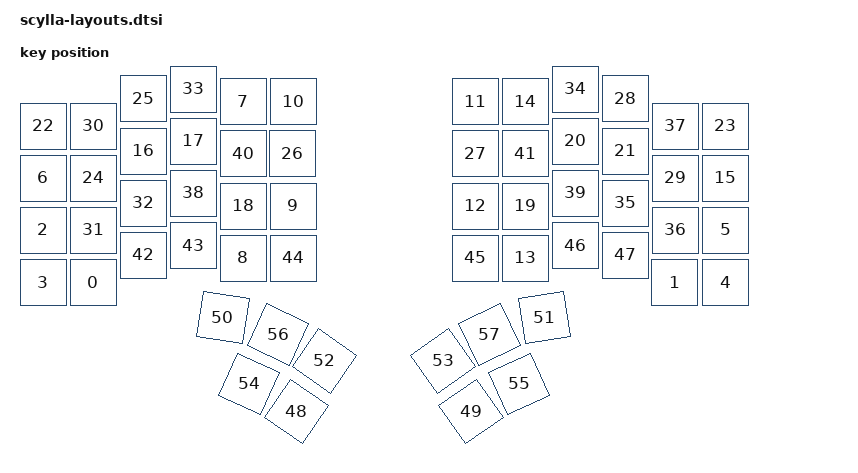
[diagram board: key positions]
#include <physical_layouts.dtsi>

/ {
    scylla_4x6_layout: scylla_4x6_layout {
        compatible = "zmk,physical-layout";
        display-name = "4x6 Layout";
        transform = <&scylla_4x6_transform>;
        kscan = <&kscan0>;

        keys  //                     w   h    x    y     rot    rx    ry
            = <&key_physical_attrs 100 100  100  387       0     0     0>
            , <&key_physical_attrs 100 100 1263  387       0     0     0>
            , <&key_physical_attrs 100 100    0  282       0     0     0>
            , <&key_physical_attrs 100 100    0  387       0     0     0>
            , <&key_physical_attrs 100 100 1365  387       0     0     0>
            , <&key_physical_attrs 100 100 1365  282       0     0     0>
            , <&key_physical_attrs 100 100    0  178       0     0     0>
            , <&key_physical_attrs 100 100  400   25       0     0     0>
            , <&key_physical_attrs 100 100  400  338       0     0     0>
            , <&key_physical_attrs 100 100  500  234       0     0     0>
            , <&key_physical_attrs 100 100  500   25       0     0     0>
            , <&key_physical_attrs 100 100  865   25       0     0     0>
            , <&key_physical_attrs 100 100  865  234       0     0     0>
            , <&key_physical_attrs 100 100  965  338       0     0     0>
            , <&key_physical_attrs 100 100  965   25       0     0     0>
            , <&key_physical_attrs 100 100 1365  178       0     0     0>
            , <&key_physical_attrs 100 100  200  124       0     0     0>
            , <&key_physical_attrs 100 100  300  104       0     0     0>
            , <&key_physical_attrs 100 100  400  234       0     0     0>
            , <&key_physical_attrs 100 100  965  234       0     0     0>
            , <&key_physical_attrs 100 100 1065  104       0     0     0>
            , <&key_physical_attrs 100 100 1165  124       0     0     0>
            , <&key_physical_attrs 100 100    0   74       0     0     0>
            , <&key_physical_attrs 100 100 1365   74       0     0     0>
            , <&key_physical_attrs 100 100  100  178       0     0     0>
            , <&key_physical_attrs 100 100  200   19       0     0     0>
            , <&key_physical_attrs 100 100  498  129       0     0     0>
            , <&key_physical_attrs 100 100  865  129       0     0     0>
            , <&key_physical_attrs 100 100 1165   19       0     0     0>
            , <&key_physical_attrs 100 100 1265  178       0     0     0>
            , <&key_physical_attrs 100 100  100   74       0     0     0>
            , <&key_physical_attrs 100 100  100  282       0     0     0>
            , <&key_physical_attrs 100 100  200  228       0     0     0>
            , <&key_physical_attrs 100 100  300    0       0     0     0>
            , <&key_physical_attrs 100 100 1065    0       0     0     0>
            , <&key_physical_attrs 100 100 1165  228       0     0     0>
            , <&key_physical_attrs 100 100 1265  282       0     0     0>
            , <&key_physical_attrs 100 100 1265   74       0     0     0>
            , <&key_physical_attrs 100 100  300  208       0     0     0>
            , <&key_physical_attrs 100 100 1065  208       0     0     0>
            , <&key_physical_attrs 100 100  400  129       0     0     0>
            , <&key_physical_attrs 100 100  965  129       0     0     0>
            , <&key_physical_attrs 100 100  200  332       0     0     0>
            , <&key_physical_attrs 100 100  300  313       0     0     0>
            , <&key_physical_attrs 100 100  500  338       0     0     0>
            , <&key_physical_attrs 100 100  865  338       0     0     0>
            , <&key_physical_attrs 100 100 1065  313       0     0     0>
            , <&key_physical_attrs 100 100 1165  332       0     0     0>
            , <&key_physical_attrs 100 100  507  645    3500   557   695>
            , <&key_physical_attrs 100 100  856  645 (-3500)   906   695>
            , <&key_physical_attrs 100 100  360  457     900   410   507>
            , <&key_physical_attrs 100 100 1003  457  (-900)  1053   507>
            , <&key_physical_attrs 100 100  563  544    3500   613   594>
            , <&key_physical_attrs 100 100  800  544 (-3500)   850   594>
            , <&key_physical_attrs 100 100  412  590    2500   462   640>
            , <&key_physical_attrs 100 100  952  590 (-2500)  1002   640>
            , <&key_physical_attrs 100 100  470  491    2500   520   541>
            , <&key_physical_attrs 100 100  893  491 (-2500)   943   541>
            ;
    };
};
